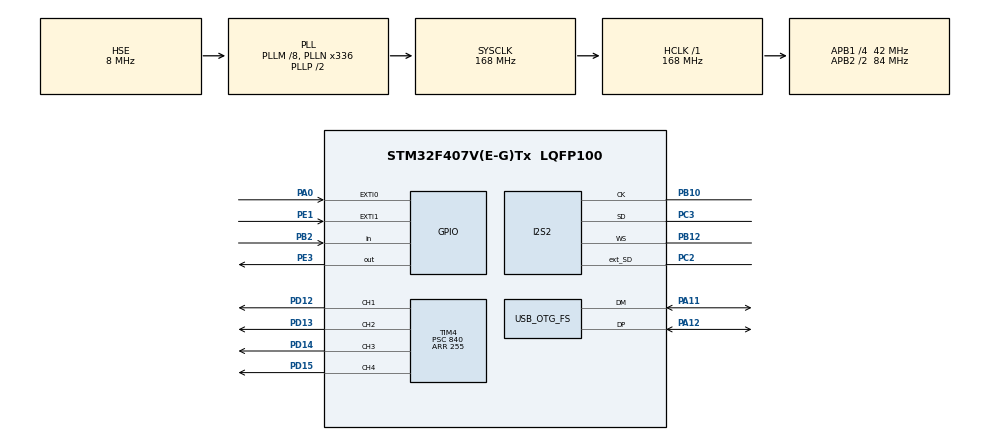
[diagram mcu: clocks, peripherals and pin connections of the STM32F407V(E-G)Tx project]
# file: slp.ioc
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Dma.Request0=SPI2_RX
Dma.SPI2_RX.0.Direction=DMA_PERIPH_TO_MEMORY
Dma.SPI2_RX.0.FIFOMode=DMA_FIFOMODE_DISABLE
Dma.SPI2_RX.0.Instance=DMA1_Stream3
Dma.SPI2_RX.0.MemDataAlignment=DMA_MDATAALIGN_HALFWORD
Dma.SPI2_RX.0.MemInc=DMA_MINC_ENABLE
Dma.SPI2_RX.0.Mode=DMA_CIRCULAR
Dma.SPI2_RX.0.PeriphDataAlignment=DMA_PDATAALIGN_HALFWORD
Dma.SPI2_RX.0.PeriphInc=DMA_PINC_DISABLE
Dma.SPI2_RX.0.Priority=DMA_PRIORITY_MEDIUM
I2S2.AudioFreq=I2S_AUDIOFREQ_32K
I2S2.CPOL=I2S_CPOL_HIGH
I2S2.ErrorAudioFreq=0.8 %
I2S2.FullDuplexMode=I2S_FULLDUPLEXMODE_ENABLE
I2S2.Instance=SPI$Index
I2S2.Mode=I2S_MODE_MASTER_RX
I2S2.RealAudioFreq=32.258 KHz
I2S2.Standard=I2S_STANDARD_LSB
I2S2.VirtualMode=I2S_MODE_MASTER
Mcu.Family=STM32F4
Mcu.Name=STM32F407V(E-G)Tx
Mcu.Package=LQFP100
NVIC.DMA1_Stream3_IRQn=true\:0\:0\:false\:false\:true\:false\:true
NVIC.OTG_FS_IRQn=true\:0\:0\:false\:false\:true\:false\:true
NVIC.PriorityGroup=NVIC_PRIORITYGROUP_0
NVIC.TIM4_IRQn=true\:0\:0\:false\:false\:true\:true\:true
NVIC.TIM6_DAC_IRQn=true\:0\:0\:false\:false\:true\:true\:true
PA0-WKUP.GPIO_ModeDefaultEXTI=GPIO_MODE_IT_RISING
PA0-WKUP.GPIO_PuPd=GPIO_NOPULL
PA0-WKUP.Signal=GPXTI0
PA11.Mode=Device_Only
PA11.Signal=USB_OTG_FS_DM
PA12.Mode=Device_Only
PA12.Signal=USB_OTG_FS_DP
PA13.Mode=Serial_Wire
PA13.Signal=SYS_JTMS-SWDIO
PA14.Mode=Serial_Wire
PA14.Signal=SYS_JTCK-SWCLK
PB10.Mode=Full_Duplex_Master
PB10.Signal=I2S2_CK
PB12.Mode=Full_Duplex_Master
PB12.Signal=I2S2_WS
PB2.GPIO_Mode=GPIO_MODE_INPUT
PB2.GPIO_PuPd=GPIO_NOPULL
PB2.Signal=GPIO_Input
PB3.Signal=SYS_JTDO-SWO
PC14-OSC32_IN.Mode=LSE-External-Oscillator
PC14-OSC32_IN.Signal=RCC_OSC32_IN
PC15-OSC32_OUT.Mode=LSE-External-Oscillator
PC15-OSC32_OUT.Signal=RCC_OSC32_OUT
PC2.Mode=Full_Duplex_Master
PC2.Signal=I2S2_ext_SD
PC3.Mode=Full_Duplex_Master
PC3.Signal=I2S2_SD
PD12.Signal=S_TIM4_CH1
PD13.GPIO_ModeDefaultPP=GPIO_MODE_AF_PP
PD13.GPIO_PuPd=GPIO_NOPULL
PD13.GPIO_Speed=GPIO_SPEED_FREQ_LOW
PD13.Signal=S_TIM4_CH2
PD14.GPIO_ModeDefaultPP=GPIO_MODE_AF_PP
PD14.GPIO_PuPd=GPIO_NOPULL
PD14.GPIO_Speed=GPIO_SPEED_FREQ_LOW
PD14.Signal=S_TIM4_CH3
PD15.GPIO_ModeDefaultPP=GPIO_MODE_AF_PP
PD15.GPIO_PuPd=GPIO_NOPULL
PD15.GPIO_Speed=GPIO_SPEED_FREQ_LOW
PD15.Signal=S_TIM4_CH4
PE1.GPIO_ModeDefaultEXTI=GPIO_MODE_IT_RISING
PE1.GPIO_PuPd=GPIO_NOPULL
PE1.Signal=GPXTI1
PE3.GPIO_ModeDefaultOutputPP=GPIO_MODE_OUTPUT_PP
PE3.GPIO_PuPd=GPIO_NOPULL
PE3.GPIO_Speed=GPIO_SPEED_FREQ_LOW
PE3.PinState=GPIO_PIN_RESET
PE3.Signal=GPIO_Output
PH0-OSC_IN.Mode=HSE-External-Oscillator
PH0-OSC_IN.Signal=RCC_OSC_IN
PH1-OSC_OUT.Mode=HSE-External-Oscillator
PH1-OSC_OUT.Signal=RCC_OSC_OUT
ProjectManager.HeapSize=0x200
ProjectManager.StackSize=0x400
ProjectManager.TargetToolchain=STM32CubeIDE
RCC.48MHZClocksFreq_Value=48000000
RCC.AHBFreq_Value=168000000
RCC.APB1CLKDivider=RCC_HCLK_DIV4
RCC.APB1Freq_Value=42000000
RCC.APB1TimFreq_Value=84000000
RCC.APB2CLKDivider=RCC_HCLK_DIV2
RCC.APB2Freq_Value=84000000
RCC.APB2TimFreq_Value=168000000
RCC.CortexFreq_Value=168000000
RCC.HCLKFreq_Value=168000000
RCC.HSE_VALUE=8000000
RCC.HSI_VALUE=16000000
RCC.PLLI2SR=6
RCC.PLLM=8
RCC.PLLN=336
RCC.PLLQ=7
RCC.SYSCLKFreq_VALUE=168000000
RCC.SYSCLKSource=RCC_SYSCLKSOURCE_PLLCLK
RCC.VCOOutputFreq_Value=336000000
SH.S_TIM4_CH1.0=TIM4_CH1,PWM Generation1 CH1
SH.S_TIM4_CH2.0=TIM4_CH2,PWM Generation2 CH2
SH.S_TIM4_CH3.0=TIM4_CH3,PWM Generation3 CH3
SH.S_TIM4_CH4.0=TIM4_CH4,PWM Generation4 CH4
TIM4.Channel-PWM\ Generation1\ CH1=TIM_CHANNEL_1
TIM4.Channel-PWM\ Generation2\ CH2=TIM_CHANNEL_2
TIM4.Channel-PWM\ Generation3\ CH3=TIM_CHANNEL_3
TIM4.Channel-PWM\ Generation4\ CH4=TIM_CHANNEL_4
TIM4.Period=255
TIM4.Prescaler=840
TIM4.Pulse-PWM\ Generation1\ CH1=100
TIM4.Pulse-PWM\ Generation2\ CH2=180
TIM4.Pulse-PWM\ Generation3\ CH3=250
TIM6.Period=255
TIM6.Prescaler=8400
USB_DEVICE.CLASS_NAME_FS=CDC
USB_DEVICE.VirtualMode-CDC_FS=Cdc
USB_DEVICE.VirtualModeFS=Cdc_FS
USB_OTG_FS.VirtualMode=Device_Only
VP_CRC_VS_CRC.Mode=CRC_Activate
VP_TIM6_VS_ClockSourceINT.Mode=Enable_Timer
VP_USB_DEVICE_VS_USB_DEVICE_CDC_FS.Mode=CDC_FS
board=STM32F407G-DISC1

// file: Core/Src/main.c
/* USER CODE BEGIN Header */
/**
  ******************************************************************************
  * @file           : main.c
  * @brief          : Main program body
  ******************************************************************************
  * @attention
  *
  * <h2><center>&copy; Copyright (c) 2019 STMicroelectronics.
  * All rights reserved.</center></h2>
  *
  * This software component is licensed by ST under BSD 3-Clause license,
  * the "License"; You may not use this file except in compliance with the
  * License. You may obtain a copy of the License at:
  *                        opensource.org/licenses/BSD-3-Clause
  *
  ******************************************************************************
  */
/* USER CODE END Header */
#include "main.h"
#include "usb_device.h"

/* USER CODE BEGIN Includes */
#include "slp.h"
/* USER CODE END Includes */

CRC_HandleTypeDef hcrc;

I2S_HandleTypeDef hi2s2;
DMA_HandleTypeDef hdma_spi2_rx;

TIM_HandleTypeDef htim4;
TIM_HandleTypeDef htim6;

void SystemClock_Config(void);
static void MX_GPIO_Init(void);
static void MX_DMA_Init(void);
static void MX_TIM4_Init(void);
static void MX_I2S2_Init(void);
static void MX_TIM6_Init(void);
static void MX_CRC_Init(void);

int main(void)
{

  /* MCU Configuration--------------------------------------------------------*/

  /* Reset of all peripherals, Initializes the Flash interface and the Systick. */
  HAL_Init();

  /* Configure the system clock */
  SystemClock_Config();

  /* Initialize all configured peripherals */
  MX_GPIO_Init();
  MX_DMA_Init();
  MX_TIM4_Init();
  MX_I2S2_Init();
  MX_TIM6_Init();
  MX_USB_DEVICE_Init();
  MX_CRC_Init();
  /* USER CODE BEGIN 2 */
  //HAL_GPIO_WritePin(GPIOD, GPIO_PIN_15, GPIO_PIN_SET);
  //HAL_GPIO_WritePin(GPIOD, GPIO_PIN_14, GPIO_PIN_SET);
  SLP_Init(&htim4, &htim6, &hi2s2, 0, 0);
  SLP_ChannelTypeDef c;
  c.beginFreq = 4;
  c.endFreq = 30;
  c.noize = 2500;
  c.max = 32000;
  c.channel = TIM_CHANNEL_1;
  SLP_AddChannel(c);

  c.beginFreq = 45;
  c.endFreq = 120;
  c.noize = 2500;
  c.max = 32000;
  c.channel = TIM_CHANNEL_2;

  SLP_AddChannel(c);

  c.beginFreq = 150;
  c.endFreq = 300;
  c.noize = 2500;
  c.max = 32000;
  c.channel = TIM_CHANNEL_3;
  SLP_AddChannel(c);
  /* USER CODE END 2 */

  /* Infinite loop */
  /* USER CODE BEGIN WHILE */
  while (1)
  {
	  SLP_Process();
    /* USER CODE END WHILE */

  }
}

void SystemClock_Config(void)
{
  RCC_OscInitTypeDef RCC_OscInitStruct = {0};
  RCC_ClkInitTypeDef RCC_ClkInitStruct = {0};
  RCC_PeriphCLKInitTypeDef PeriphClkInitStruct = {0};

  /** Configure the main internal regulator output voltage
  */
  __HAL_RCC_PWR_CLK_ENABLE();
  __HAL_PWR_VOLTAGESCALING_CONFIG(PWR_REGULATOR_VOLTAGE_SCALE1);
  /** Initializes the RCC Oscillators according to the specified parameters
  * in the RCC_OscInitTypeDef structure.
  */
  RCC_OscInitStruct.OscillatorType = RCC_OSCILLATORTYPE_HSE;
  RCC_OscInitStruct.HSEState = RCC_HSE_ON;
  RCC_OscInitStruct.PLL.PLLState = RCC_PLL_ON;
  RCC_OscInitStruct.PLL.PLLSource = RCC_PLLSOURCE_HSE;
  RCC_OscInitStruct.PLL.PLLM = 8;
  RCC_OscInitStruct.PLL.PLLN = 336;
  RCC_OscInitStruct.PLL.PLLP = RCC_PLLP_DIV2;
  RCC_OscInitStruct.PLL.PLLQ = 7;
  if (HAL_RCC_OscConfig(&RCC_OscInitStruct) != HAL_OK)
  {
    Error_Handler();
  }
  /** Initializes the CPU, AHB and APB buses clocks
  */
  RCC_ClkInitStruct.ClockType = RCC_CLOCKTYPE_HCLK|RCC_CLOCKTYPE_SYSCLK
                              |RCC_CLOCKTYPE_PCLK1|RCC_CLOCKTYPE_PCLK2;
  RCC_ClkInitStruct.SYSCLKSource = RCC_SYSCLKSOURCE_PLLCLK;
  RCC_ClkInitStruct.AHBCLKDivider = RCC_SYSCLK_DIV1;
  RCC_ClkInitStruct.APB1CLKDivider = RCC_HCLK_DIV4;
  RCC_ClkInitStruct.APB2CLKDivider = RCC_HCLK_DIV2;

  if (HAL_RCC_ClockConfig(&RCC_ClkInitStruct, FLASH_LATENCY_5) != HAL_OK)
  {
    Error_Handler();
  }
  PeriphClkInitStruct.PeriphClockSelection = RCC_PERIPHCLK_I2S;
  PeriphClkInitStruct.PLLI2S.PLLI2SN = 192;
  PeriphClkInitStruct.PLLI2S.PLLI2SR = 6;
  if (HAL_RCCEx_PeriphCLKConfig(&PeriphClkInitStruct) != HAL_OK)
  {
    Error_Handler();
  }
}

static void MX_CRC_Init(void)
{

  hcrc.Instance = CRC;
  if (HAL_CRC_Init(&hcrc) != HAL_OK)
  {
    Error_Handler();
  }

}

static void MX_I2S2_Init(void)
{

  hi2s2.Instance = SPI2;
  hi2s2.Init.Mode = I2S_MODE_MASTER_RX;
  hi2s2.Init.Standard = I2S_STANDARD_LSB;
  hi2s2.Init.DataFormat = I2S_DATAFORMAT_16B;
  hi2s2.Init.MCLKOutput = I2S_MCLKOUTPUT_DISABLE;
  hi2s2.Init.AudioFreq = I2S_AUDIOFREQ_32K;
  hi2s2.Init.CPOL = I2S_CPOL_HIGH;
  hi2s2.Init.ClockSource = I2S_CLOCK_PLL;
  hi2s2.Init.FullDuplexMode = I2S_FULLDUPLEXMODE_ENABLE;
  if (HAL_I2S_Init(&hi2s2) != HAL_OK)
  {
    Error_Handler();
  }

}

static void MX_TIM4_Init(void)
{

  TIM_MasterConfigTypeDef sMasterConfig = {0};
  TIM_OC_InitTypeDef sConfigOC = {0};

  htim4.Instance = TIM4;
  htim4.Init.Prescaler = 840;
  htim4.Init.CounterMode = TIM_COUNTERMODE_UP;
  htim4.Init.Period = 255;
  htim4.Init.ClockDivision = TIM_CLOCKDIVISION_DIV1;
  htim4.Init.AutoReloadPreload = TIM_AUTORELOAD_PRELOAD_DISABLE;
  if (HAL_TIM_PWM_Init(&htim4) != HAL_OK)
  {
    Error_Handler();
  }
  sMasterConfig.MasterOutputTrigger = TIM_TRGO_RESET;
  sMasterConfig.MasterSlaveMode = TIM_MASTERSLAVEMODE_DISABLE;
  if (HAL_TIMEx_MasterConfigSynchronization(&htim4, &sMasterConfig) != HAL_OK)
  {
    Error_Handler();
  }
  sConfigOC.OCMode = TIM_OCMODE_PWM1;
  sConfigOC.Pulse = 100;
  sConfigOC.OCPolarity = TIM_OCPOLARITY_HIGH;
  sConfigOC.OCFastMode = TIM_OCFAST_DISABLE;
  if (HAL_TIM_PWM_ConfigChannel(&htim4, &sConfigOC, TIM_CHANNEL_1) != HAL_OK)
  {
    Error_Handler();
  }
  sConfigOC.Pulse = 180;
  if (HAL_TIM_PWM_ConfigChannel(&htim4, &sConfigOC, TIM_CHANNEL_2) != HAL_OK)
  {
    Error_Handler();
  }
  sConfigOC.Pulse = 250;
  if (HAL_TIM_PWM_ConfigChannel(&htim4, &sConfigOC, TIM_CHANNEL_3) != HAL_OK)
  {
    Error_Handler();
  }
  sConfigOC.Pulse = 0;
  if (HAL_TIM_PWM_ConfigChannel(&htim4, &sConfigOC, TIM_CHANNEL_4) != HAL_OK)
  {
    Error_Handler();
  }
  HAL_TIM_MspPostInit(&htim4);

}

static void MX_TIM6_Init(void)
{

  TIM_MasterConfigTypeDef sMasterConfig = {0};

  htim6.Instance = TIM6;
  htim6.Init.Prescaler = 8400;
  htim6.Init.CounterMode = TIM_COUNTERMODE_UP;
  htim6.Init.Period = 255;
  htim6.Init.AutoReloadPreload = TIM_AUTORELOAD_PRELOAD_DISABLE;
  if (HAL_TIM_Base_Init(&htim6) != HAL_OK)
  {
    Error_Handler();
  }
  sMasterConfig.MasterOutputTrigger = TIM_TRGO_RESET;
  sMasterConfig.MasterSlaveMode = TIM_MASTERSLAVEMODE_DISABLE;
  if (HAL_TIMEx_MasterConfigSynchronization(&htim6, &sMasterConfig) != HAL_OK)
  {
    Error_Handler();
  }

}

static void MX_DMA_Init(void)
{

  /* DMA controller clock enable */
  __HAL_RCC_DMA1_CLK_ENABLE();

  /* DMA interrupt init */
  /* DMA1_Stream3_IRQn interrupt configuration */
  HAL_NVIC_SetPriority(DMA1_Stream3_IRQn, 0, 0);
  HAL_NVIC_EnableIRQ(DMA1_Stream3_IRQn);

}

static void MX_GPIO_Init(void)
{
  GPIO_InitTypeDef GPIO_InitStruct = {0};

  /* GPIO Ports Clock Enable */
  __HAL_RCC_GPIOE_CLK_ENABLE();
  __HAL_RCC_GPIOC_CLK_ENABLE();
  __HAL_RCC_GPIOH_CLK_ENABLE();
  __HAL_RCC_GPIOA_CLK_ENABLE();
  __HAL_RCC_GPIOB_CLK_ENABLE();
  __HAL_RCC_GPIOD_CLK_ENABLE();

  /*Configure GPIO pin Output Level */
  HAL_GPIO_WritePin(GPIOE, GPIO_PIN_3, GPIO_PIN_RESET);

  /*Configure GPIO pin : PE3 */
  GPIO_InitStruct.Pin = GPIO_PIN_3;
  GPIO_InitStruct.Mode = GPIO_MODE_OUTPUT_PP;
  GPIO_InitStruct.Pull = GPIO_NOPULL;
  GPIO_InitStruct.Speed = GPIO_SPEED_FREQ_LOW;
  HAL_GPIO_Init(GPIOE, &GPIO_InitStruct);

  /*Configure GPIO pin : PA0 */
  GPIO_InitStruct.Pin = GPIO_PIN_0;
  GPIO_InitStruct.Mode = GPIO_MODE_IT_RISING;
  GPIO_InitStruct.Pull = GPIO_NOPULL;
  HAL_GPIO_Init(GPIOA, &GPIO_InitStruct);

  /*Configure GPIO pin : PB2 */
  GPIO_InitStruct.Pin = GPIO_PIN_2;
  GPIO_InitStruct.Mode = GPIO_MODE_INPUT;
  GPIO_InitStruct.Pull = GPIO_NOPULL;
  HAL_GPIO_Init(GPIOB, &GPIO_InitStruct);

  /*Configure GPIO pin : PE1 */
  GPIO_InitStruct.Pin = GPIO_PIN_1;
  GPIO_InitStruct.Mode = GPIO_MODE_IT_RISING;
  GPIO_InitStruct.Pull = GPIO_NOPULL;
  HAL_GPIO_Init(GPIOE, &GPIO_InitStruct);

}

/* USER CODE BEGIN 4 */
int _write(int file, char *ptr, int len)
{
  /* Implement your write code here, this is used by puts and printf for example */
  int i=0;
  for(i=0 ; i<len ; i++)
    ITM_SendChar((*ptr++));
  return len;
}
/* USER CODE END 4 */

void Error_Handler(void)
{
}

/************************ (C) COPYRIGHT STMicroelectronics *****END OF FILE****/
